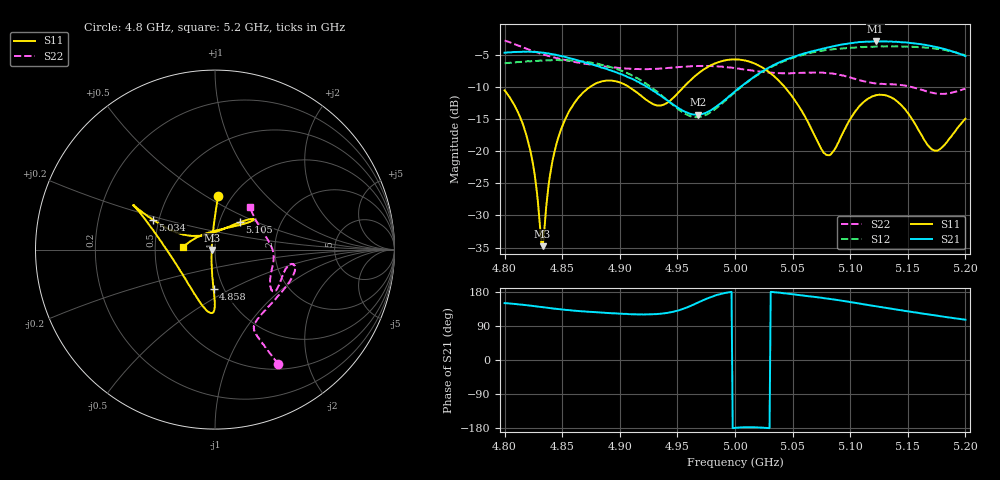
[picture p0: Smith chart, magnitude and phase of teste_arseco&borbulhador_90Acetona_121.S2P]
! Network Analyzer HP8722D
! Hewlett-Packard
! Data name: Linha & Wilkinson
! Saver's name: Rodrigo Anjos
! Comments: Teste da utilização de aquisição
! continua pelo VNA HP8722D
! Time and date: 17/4/2025 12:03
!  Frequency  S11  S21  S12  S22
# HZ  S  MA R 50
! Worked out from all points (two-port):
!   401 points, 4.8 GHz to 5.2 GHz, reference 50 ohm
!   highest |S21| = -2.91 dB at 5.122 GHz (marker M1); lowest = -14.3 dB at 4.968 GHz (marker M2)
!   |S21| within 3 dB of the highest: start of sweep to 4.864 GHz; 5.042 GHz to end of sweep
!   lowest |S11| = -34.8 dB at 4.833 GHz (marker M3), VSWR 1.04, Z = 48.2 - j0.225 ohm
!   |S11| at or under -10 dB: start of sweep to 4.874 GHz; 4.908 GHz to 4.956 GHz (47.72 MHz wide, 0.968 % of centre); 5.043 GHz to end of sweep
!   |S22| runs from -11.1 to -2.8 dB; largest |S21 - S12| = 1.3
!   S11 on the Smith chart (normalised r, x): 4.8 GHz: 0.86, +0.56; 4.858 GHz: 0.90, -0.41; 5.034 GHz: 0.46, +0.18; 5.105 GHz: 1.25, +0.40; 5.2 GHz: 0.70, +0.02
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4.8e9  0.2976 86.7  0.5835 150.1  0.4834 -111.9  0.7265 -61.0
4.811e9  0.2061 89.2  0.5911 147.2  0.4937 -111.7  0.6666 -61.9
4.82e9  0.1222 93.8  0.5936 144.3  0.5016 -111.2  0.6226 -62.6
4.825e9  0.0759 100.0  0.5905 142.2  0.5028 -110.9  0.5984 -63.0
4.831e9  0.02412 135.6  0.5871 140.1  0.5078 -110.3  0.5747 -63.3
4.833e9  0.01822 -172.7  0.5831 139.5  0.5064 -110.3  0.5666 -63.5
4.839e9  0.0616 -107.5  0.5728 137.1  0.5077 -110.0  0.5473 -63.8
4.843e9  0.09634 -101.0  0.5659 135.4  0.5101 -109.7  0.5348 -64.0
4.858e9  0.2185 -92.0  0.5249 130.8  0.5071 -109.7  0.4993 -64.1
4.867e9  0.2785 -90.4  0.4979 128.6  0.4991 -109.9  0.4833 -63.3
4.898e9  0.3471 -96.7  0.4068 122.6  0.4332 -113.4  0.4449 -54.7
4.934e9  0.2268 -147.7  0.2757 121.6  0.2829 -116.2  0.438 -33.9
4.968e9  0.4013 158.4  0.1921 151.6  0.184 -83.1  0.4593 -16.9
5e9  0.518 151.5  0.2914 -179.3  0.2881 -49.7  0.4417 -10.5
5.034e9  0.3827 154.3  0.4693 178.8  0.4643 -44.6  0.4062 -16.5
5.067e9  0.1449 148.4  0.5981 167.3  0.5864 -48.1  0.4085 -30.8
5.082e9  0.09295 100.9  0.6454 161.3  0.6149 -50.9  0.4041 -35.0
5.105e9  0.2072 47.5  0.6996 150.5  0.6407 -56.1  0.3625 -32.3
5.122e9  0.2716 39.0  0.7155 141.8  0.6509 -61.1  0.3369 -21.2
5.134e9  0.2662 37.6  0.713 136.2  0.6537 -65.2  0.3321 -11.6
5.173e9  0.1012 102.0  0.6501 117.9  0.6294 -78.8  0.2822 22.0
5.2e9  0.1788 175.8  0.5477 106.4  0.5561 -87.9  0.3056 50.6
